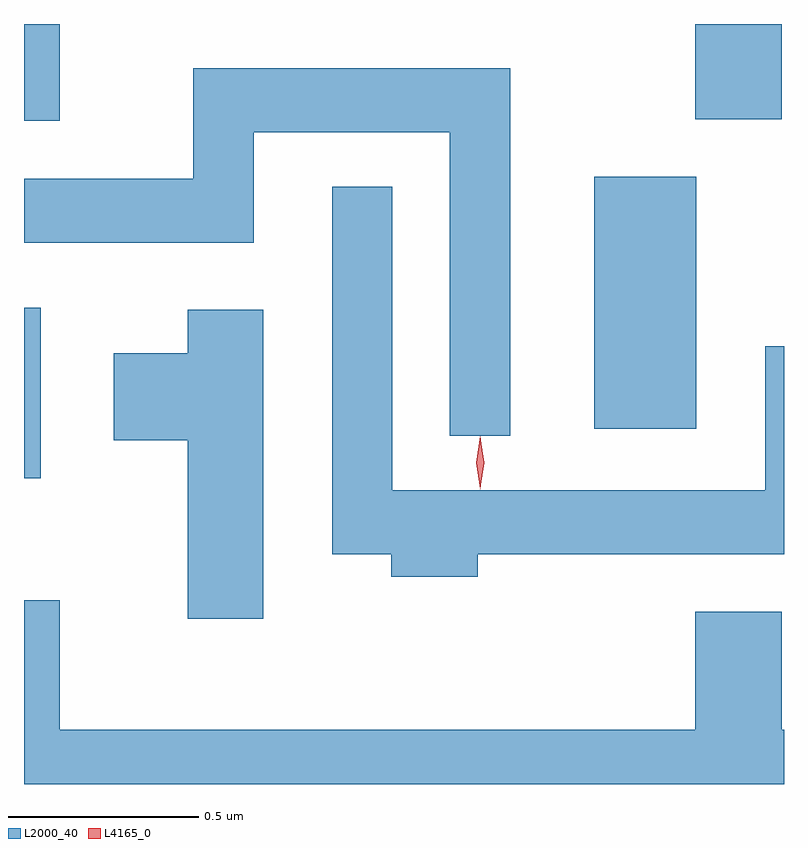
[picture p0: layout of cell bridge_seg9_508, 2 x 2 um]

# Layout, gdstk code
import gdstk
lib = gdstk.Library(unit=1e-6, precision=1e-09)
def R(c, l, rs):  # rectangles x0, y0, x1, y1
    for r in rs: c.add(gdstk.rectangle(r[:2], r[2:], *l))
def P(c, l, *ps):  # polygons
    for p in ps: c.add(gdstk.Polygon(p, *l))
L2000_40 = (2000, 40)
L4165_0 = (4165, 0)

bridge_seg9_508 = lib.new_cell('bridge_seg9_508')
R(bridge_seg9_508, L2000_40, [(566.365,1970.546,566.409,1970.994), (567.866,1970.676,568.134,1971.339), (566.365,1971.486,566.459,1971.741), (568.131,1971.491,568.359,1971.741)])
P(bridge_seg9_508, L2000_40, [(567.644,1971.624),(566.811,1971.624),(566.811,1971.334),(566.365,1971.334),(566.365,1971.166),(566.969,1971.166),(566.969,1971.456),(567.486,1971.456),(567.486,1970.658),(567.644,1970.658)],
  [(567.559,1970.346),(568.365,1970.346),(568.365,1970.893),(568.316,1970.893),(568.316,1970.514),(567.334,1970.514),(567.334,1971.313),(567.176,1971.313),(567.176,1970.346),(567.331,1970.346),(567.331,1970.286),(567.559,1970.286)],
  [(566.994,1970.989),(566.796,1970.989),(566.796,1970.874),(566.601,1970.874),(566.601,1970.646),(566.796,1970.646),(566.796,1970.176),(566.994,1970.176)],
  [(568.365,1969.884),(568.359,1969.884),(568.359,1970.194),(568.131,1970.194),(568.131,1969.884),(566.459,1969.884),(566.459,1970.224),(566.365,1970.224),(566.365,1969.741),(568.365,1969.741)])
P(bridge_seg9_508, L4165_0, [(567.565,1970.517),(567.565,1970.518),(567.555,1970.587),(567.565,1970.656),(567.565,1970.656),(567.566,1970.656),(567.575,1970.587),(567.566,1970.518)],
  [(567.566,1970.519),(567.565,1970.52),(567.556,1970.586),(567.565,1970.652),(567.566,1970.653),(567.566,1970.652),(567.576,1970.586),(567.566,1970.52)])

lib.write_gds('bridge_seg9_508.gds')
